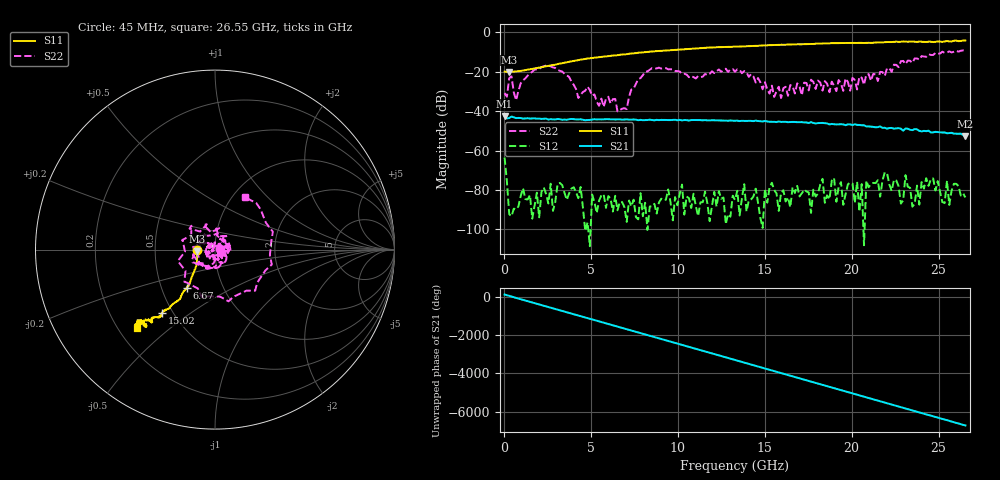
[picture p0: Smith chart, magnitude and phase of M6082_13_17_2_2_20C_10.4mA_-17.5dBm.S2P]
!  2-Port S-parameters saved by WinCal
! VAR MeasName=S-Parameters (CALIBRATED_DATA) read from VNA (C)
! VAR MeasDate=10/16/2015 1:57:32 PM
! VAR NAME=M6082_13_17_2_2_20C_10.4mA_-17.5dBm
! VAR FILENAME=M6082_13_17_2_2_20C_10.4mA_-17.5dBm.S2P
! VAR DATE=10/16/2015 1:57:32 PM
! VAR PHYS_PORTS=2,1
! VAR ObjTypeName=DATASET
! VAR IndexType=Frequency
# Hz S RI R 50
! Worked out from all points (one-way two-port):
!   201 points, 45 MHz to 26.55 GHz, reference 50 ohm
!   highest |S21| = -42.66 dB at 45 MHz (marker M1); lowest = -52.7 dB at 26.55 GHz (marker M2)
!   lowest |S11| = -20.1 dB at 310 MHz (marker M3), VSWR 1.22, Z = 41 - j0.804 ohm
!   |S11| at or under -10 dB: start of sweep to 8.218 GHz
!   |S22| runs from -40.2 to -9.2 dB; largest |S21 - S12| = 0.0079
!   S11 on the Smith chart (normalised r, x): 45 MHz: 0.82, -0.00; 6.67 GHz: 0.67, -0.31; 15.02 GHz: 0.44, -0.39; 26.55 GHz: 0.28, -0.39
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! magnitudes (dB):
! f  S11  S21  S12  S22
! 45 MHz  -20.0  -42.7  -63.6  -30.9
! 177.5 MHz  -20.1  -43.7  -75.8  -32.7
! 310 MHz  -20.1  -43.6  -92.3  -23.3
! 707.5 MHz  -19.9  -43.6  -89.8  -34.5
! 1.105 GHz  -19.4  -43.8  -79.2  -24.4
! 2.43 GHz  -17.3  -43.8  -82.0  -17.0
! 4.55 GHz  -13.8  -44.4  -89.0  -30.3
! 6.67 GHz  -11.5  -44.2  -86.1  -39.5
! 7.73 GHz  -10.4  -44.6  -94.9  -23.7
! 8.922 GHz  -9.5  -44.6  -86.3  -18.0
! 13.29 GHz  -7.3  -44.9  -85.0  -20.0
! 15.02 GHz  -6.7  -45.0  -79.4  -25.4
! 15.95 GHz  -6.4  -45.5  -81.3  -33.4
! 17.8 GHz  -6.0  -46.0  -79.9  -25.2
! 19.92 GHz  -5.4  -46.7  -76.3  -29.7
! 20.05 GHz  -5.4  -47.1  -76.7  -23.2
! 20.32 GHz  -5.5  -47.0  -75.9  -29.0
! 20.45 GHz  -5.4  -47.0  -90.9  -22.5
! 21.64 GHz  -5.2  -47.8  -83.4  -20.1
! 21.91 GHz  -5.1  -48.5  -71.1  -22.2
! 22.17 GHz  -5.0  -48.6  -77.2  -18.3
! 26.55 GHz  -4.2  -52.7  -83.8  -9.5
